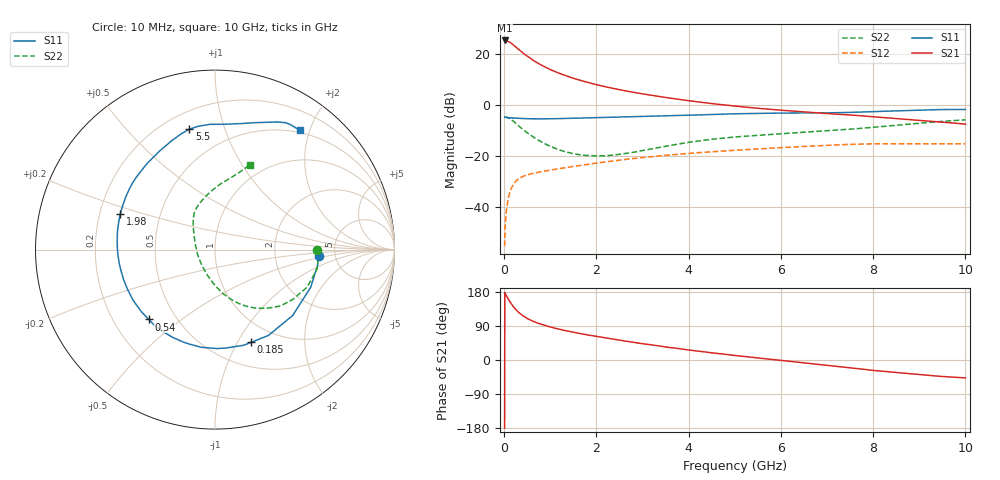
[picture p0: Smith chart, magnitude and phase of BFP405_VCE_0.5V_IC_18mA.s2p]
! Infineon Technologies  Discrete & RF Semiconductors
! BFP405
! VCE =  0.5 V,  IC =  18 mA
! Common Emitter S-Parameters:  Jan 2016
# GHz  S  MA  R  50
!  f  S11  S21  S12  S22
! GHz  MAG  ANG  MAG  ANG  MAG  ANG  MAG  ANG
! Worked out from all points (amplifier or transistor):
!   233 points, 10 MHz to 10 GHz, reference 50 ohm
!   highest |S21| = 25.3 dB at 10 MHz (marker M1)
!   |S21| within 3 dB of that: start of sweep to 284 MHz
!   unconditionally stable (mu >= 1): start of sweep to 83 MHz; 606.6 MHz to end of sweep
!   at 200 MHz: K = 0.66, MSG = 27.4 dB, |S12| = -31.2 dB
!   at 1.74 GHz: K = 1.86, MAG = 11.0 dB, |S12| = -23.5 dB
!   at 10 GHz: K = 2.14, MAG = -2.2 dB, |S12| = -15.2 dB
!   S11 on the Smith chart (normalised r, x): 10 MHz: 3.69, -0.38; 185 MHz: 0.77, -1.14; 540 MHz: 0.35, -0.38; 1.98 GHz: 0.29, +0.17; 5.5 GHz: 0.30, +0.76; 10 GHz: 0.47, +1.85
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0.01  0.5778 -3.4  18.41 -179.7  0.0017 110.2  0.5703 -0.2
0.02  0.5783 -8.5  18.41 175.6  0.0038 90.5  0.5776 -3.9
0.05  0.5732 -21.4  18.13 169.5  0.0085 82.9  0.5786 -10.9
0.1  0.5674 -40.3  17.45 158.5  0.0162 71.8  0.5548 -22.1
0.15  0.5634 -58.1  16.36 149.0  0.0227 64.1  0.5161 -32.3
0.185  0.5545 -68.6  15.45 143.3  0.0261 60.1  0.4907 -38.1
0.2  0.5565 -73.2  15.11 140.6  0.0276 58.7  0.4815 -40.7
0.26  0.5512 -89.0  13.63 132.1  0.0324 52.7  0.4303 -49.4
0.36  0.5443 -109.1  11.38 120.9  0.0378 45.9  0.3606 -61.0
0.45  0.5412 -123.1  9.776 113.3  0.0412 41.8  0.3072 -69.6
0.54  0.5363 -133.5  8.56 107.5  0.0435 39.4  0.2689 -75.8
0.7  0.5365 -148.5  6.853 98.6  0.0472 36.7  0.2142 -86.7
0.9  0.536 -161.5  5.478 90.5  0.0509 35.5  0.1702 -98.2
1.2  0.5407 -175.9  4.159 81.1  0.0565 35.0  0.1313 -115.3
1.68  0.5543 167.7  2.99 69.1  0.0659 34.7  0.1044 -143.7
1.98  0.5635 159.6  2.527 62.5  0.0721 34.1  0.1009 -161.0
3.4  0.6067 130.1  1.447 36.4  0.101 26.7  0.149 142.2
5.1  0.674 105.5  0.931 10.7  0.1308 14.3  0.239 118.2
5.5  0.6858 102.0  0.861 5.3  0.1374 11.1  0.2543 113.9
6.8  0.6985 88.3  0.7 -11.4  0.1582 0.2  0.3031 99.3
8.4  0.7608 68.8  0.549 -32.1  0.173 -16.4  0.3921 80.3
10  0.8152 54.5  0.42 -47.2  0.1728 -27.4  0.5109 67.8
